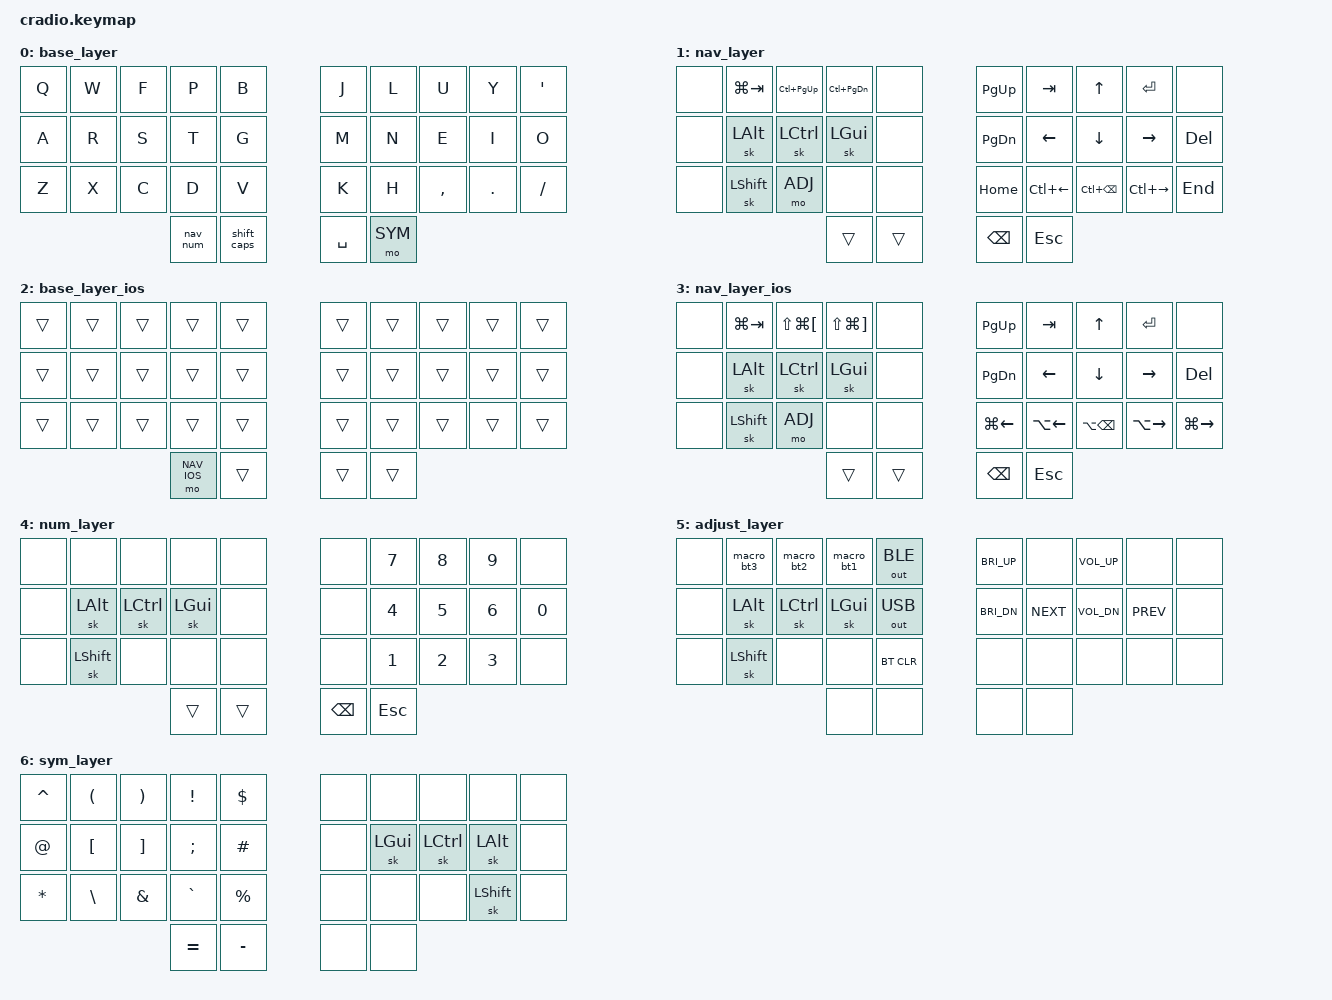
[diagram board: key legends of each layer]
#include <behaviors.dtsi>
#include <dt-bindings/zmk/keys.h>
#include <dt-bindings/zmk/bt.h>
#include <dt-bindings/zmk/outputs.h>

#define XXX &none
#define ___ &trans

#define BASE 0
#define NAV 1
#define BASE_IOS 2
#define NAV_IOS 3
#define NUM 4
#define ADJ 5
#define SYM 6

#define NEXT LC(PG_DN)
#define PREV LC(PG_UP)
#define SW_APP LG(TAB)
#define WORD_BS LC(BSPC)
#define WORD_L LC(LEFT)
#define WORD_R LC(RIGHT)

#define iEND LG(RIGHT)
#define iHOME LG(LEFT)
#define iNEXT LS(LG(RBKT))
#define iPREV LS(LG(LBKT))
#define iWORD_BS LA(BSPC)
#define iWORD_L LA(LEFT)
#define iWORD_R LA(RIGHT)

&sk {
  release-after-ms = <2000>;
};

/ {

  combos {
    #include "combos.dtsi"
  };

  behaviors {

    #include "macros.dtsi"

    shift_caps: shift_caps {
      compatible = "zmk,behavior-tap-dance";
      label = "shift_caps";
      #binding-cells = <0>;
      tapping_term_ms = <250>;
      bindings = <&sk LSHIFT>, <&kp CAPSLOCK>;
    };

    nav_num: nav_num {
      compatible = "zmk,behavior-tap-dance";
      label = "nav_num";
      #binding-cells = <0>;
      tapping_term_ms = <250>;
      bindings = <&mo NAV>, <&mo NUM>;
    };

  };

  keymap {
    compatible = "zmk,keymap";

    base_layer {
      bindings = <
        // ╭─────────────┬─────────────┬─────────────┬─────────────┬─────────────╮   ╭─────────────┬─────────────┬─────────────┬─────────────┬─────────────╮
             &kp Q         &kp W         &kp F         &kp P         &kp B             &kp J         &kp L         &kp U         &kp Y         &kp SQT
        // ├─────────────┼─────────────┼─────────────┼─────────────┼─────────────┤   ├─────────────┼─────────────┼─────────────┼─────────────┼─────────────┤
             &kp A         &kp R         &kp S         &kp T         &kp G             &kp M         &kp N         &kp E         &kp I         &kp O
        // ├─────────────┼─────────────┼─────────────┼─────────────┼─────────────┤   ├─────────────┼─────────────┼─────────────┼─────────────┼─────────────┤
             &kp Z         &kp X         &kp C         &kp D         &kp V             &kp K         &kp H         &kp COMMA     &kp DOT       &kp SLASH
        // ╰─────────────┴─────────────┴─────────────┼─────────────┼─────────────┤   ├─────────────┼─────────────┼─────────────┴─────────────┴─────────────╯
                                                       &nav_num      &shift_caps       &kp SPC       &mo SYM
        //                                           ╰─────────────┴─────────────╯   ╰─────────────┴─────────────╯
      >;
    };

    nav_layer {
      bindings = <
        // ╭─────────────┬─────────────┬─────────────┬─────────────┬─────────────╮   ╭─────────────┬─────────────┬─────────────┬─────────────┬─────────────╮
             XXX           &kp SW_APP    &kp PREV      &kp NEXT      XXX               &kp PG_UP     &kp TAB       &kp UP        &kp ENTER     XXX
        // ├─────────────┼─────────────┼─────────────┼─────────────┼─────────────┤   ├─────────────┼─────────────┼─────────────┼─────────────┼─────────────┤
             XXX           &sk LALT      &sk LCTRL     &sk LGUI      XXX               &kp PG_DN     &kp LEFT      &kp DOWN      &kp RIGHT     &kp DEL
        // ├─────────────┼─────────────┼─────────────┼─────────────┼─────────────┤   ├─────────────┼─────────────┼─────────────┼─────────────┼─────────────┤
             XXX           &sk LSHFT     &mo ADJ       XXX           XXX               &kp HOME      &kp WORD_L    &kp WORD_BS   &kp WORD_R    &kp END
        // ╰─────────────┴─────────────┴─────────────┼─────────────┼─────────────┤   ├─────────────┼─────────────┼─────────────┴─────────────┴─────────────╯
                                                       ___           ___               &kp BSPC      &kp ESC
        //                                           ╰─────────────┴─────────────╯   ╰─────────────┴─────────────╯
      >;
    };

    base_layer_ios {
      bindings = <
        // ╭─────────────┬─────────────┬─────────────┬─────────────┬─────────────╮   ╭─────────────┬─────────────┬─────────────┬─────────────┬─────────────╮
             ___           ___           ___           ___           ___               ___           ___           ___           ___           ___
        // ├─────────────┼─────────────┼─────────────┼─────────────┼─────────────┤   ├─────────────┼─────────────┼─────────────┼─────────────┼─────────────┤
             ___           ___           ___           ___           ___               ___           ___           ___           ___           ___
        // ├─────────────┼─────────────┼─────────────┼─────────────┼─────────────┤   ├─────────────┼─────────────┼─────────────┼─────────────┼─────────────┤
             ___           ___           ___           ___           ___               ___           ___           ___           ___           ___
        // ╰─────────────┴─────────────┴─────────────┼─────────────┼─────────────┤   ├─────────────┼─────────────┼─────────────┴─────────────┴─────────────╯
                                                       &mo NAV_IOS   ___               ___           ___
        //                                           ╰─────────────┴─────────────╯   ╰─────────────┴─────────────╯
      >;
    };

    nav_layer_ios {
      bindings = <
        // ╭─────────────┬─────────────┬─────────────┬─────────────┬─────────────╮   ╭─────────────┬─────────────┬─────────────┬─────────────┬─────────────╮
             XXX           &kp SW_APP    &kp iPREV     &kp iNEXT     XXX               &kp PG_UP     &kp TAB       &kp UP        &kp ENTER     XXX
        // ├─────────────┼─────────────┼─────────────┼─────────────┼─────────────┤   ├─────────────┼─────────────┼─────────────┼─────────────┼─────────────┤
             XXX           &sk LALT      &sk LCTRL     &sk LGUI      XXX               &kp PG_DN     &kp LEFT      &kp DOWN      &kp RIGHT     &kp DEL
        // ├─────────────┼─────────────┼─────────────┼─────────────┼─────────────┤   ├─────────────┼─────────────┼─────────────┼─────────────┼─────────────┤
             XXX           &sk LSHFT     &mo ADJ       XXX           XXX               &kp iHOME     &kp iWORD_L   &kp iWORD_BS  &kp iWORD_R   &kp iEND
        // ╰─────────────┴─────────────┴─────────────┼─────────────┼─────────────┤   ├─────────────┼─────────────┼─────────────┴─────────────┴─────────────╯
                                                       ___           ___               &kp BSPC      &kp ESC
        //                                           ╰─────────────┴─────────────╯   ╰─────────────┴─────────────╯
      >;
    };

    num_layer {
      bindings = <
        // ╭─────────────┬─────────────┬─────────────┬─────────────┬─────────────╮   ╭─────────────┬─────────────┬─────────────┬─────────────┬─────────────╮
             XXX           XXX           XXX           XXX           XXX               XXX           &kp N7        &kp N8        &kp N9        XXX
        // ├─────────────┼─────────────┼─────────────┼─────────────┼─────────────┤   ├─────────────┼─────────────┼─────────────┼─────────────┼─────────────┤
             XXX           &sk LALT      &sk LCTRL     &sk LGUI      XXX               XXX           &kp N4        &kp N5        &kp N6        &kp N0
        // ├─────────────┼─────────────┼─────────────┼─────────────┼─────────────┤   ├─────────────┼─────────────┼─────────────┼─────────────┼─────────────┤
             XXX           &sk LSHFT     XXX           XXX           XXX               XXX           &kp N1        &kp N2        &kp N3        XXX
        // ╰─────────────┴─────────────┴─────────────┼─────────────┼─────────────┤   ├─────────────┼─────────────┼─────────────┴─────────────┴─────────────╯
                                                       ___           ___               &kp BSPC      &kp ESC
        //                                           ╰─────────────┴─────────────╯   ╰─────────────┴─────────────╯
      >;
    };

    adjust_layer {
      bindings = <
        // ╭─────────────┬─────────────┬─────────────┬─────────────┬─────────────╮   ╭─────────────┬─────────────┬─────────────┬─────────────┬─────────────╮
             XXX           &macro_bt3    &macro_bt2    &macro_bt1    &out OUT_BLE      &kp C_BRI_UP  XXX           &kp C_VOL_UP  XXX           XXX
        // ├─────────────┼─────────────┼─────────────┼─────────────┼─────────────┤   ├─────────────┼─────────────┼─────────────┼─────────────┼─────────────┤
             XXX           &sk LALT      &sk LCTRL     &sk LGUI      &out OUT_USB      &kp C_BRI_DN  &kp C_NEXT    &kp C_VOL_DN  &kp C_PREV    XXX
        // ├─────────────┼─────────────┼─────────────┼─────────────┼─────────────┤   ├─────────────┼─────────────┼─────────────┼─────────────┼─────────────┤
             XXX           &sk LSHFT     XXX           XXX           &bt BT_CLR        XXX           XXX           XXX           XXX           XXX
        // ╰─────────────┴─────────────┴─────────────┼─────────────┼─────────────┤   ├─────────────┼─────────────┼─────────────┴─────────────┴─────────────╯
                                                       XXX           XXX               XXX           XXX
        //                                           ╰─────────────┴─────────────╯   ╰─────────────┴─────────────╯
      >;
    };

    sym_layer {
      bindings = <
        // ╭─────────────┬─────────────┬─────────────┬─────────────┬─────────────╮   ╭─────────────┬─────────────┬─────────────┬─────────────┬─────────────╮
             &kp CARET     &kp LPAR      &kp RPAR      &kp EXCL      &kp DOLLAR        XXX           XXX           XXX           XXX           XXX
        // ├─────────────┼─────────────┼─────────────┼─────────────┼─────────────┤   ├─────────────┼─────────────┼─────────────┼─────────────┼─────────────┤
             &kp AT        &kp LBKT      &kp RBKT      &kp SEMI      &kp HASH          XXX           &sk LGUI      &sk LCTRL     &sk LALT      XXX
        // ├─────────────┼─────────────┼─────────────┼─────────────┼─────────────┤   ├─────────────┼─────────────┼─────────────┼─────────────┼─────────────┤
             &kp STAR      &kp BSLH      &kp AMPS      &kp GRAVE     &kp PRCNT         XXX           XXX           XXX           &sk LSHFT     XXX
        // ╰─────────────┴─────────────┴─────────────┼─────────────┼─────────────┤   ├─────────────┼─────────────┼─────────────┴─────────────┴─────────────╯
                                                       &kp EQUAL     &kp MINUS         XXX           XXX
        //                                           ╰─────────────┴─────────────╯   ╰─────────────┴─────────────╯
      >;
    };

  };
};
